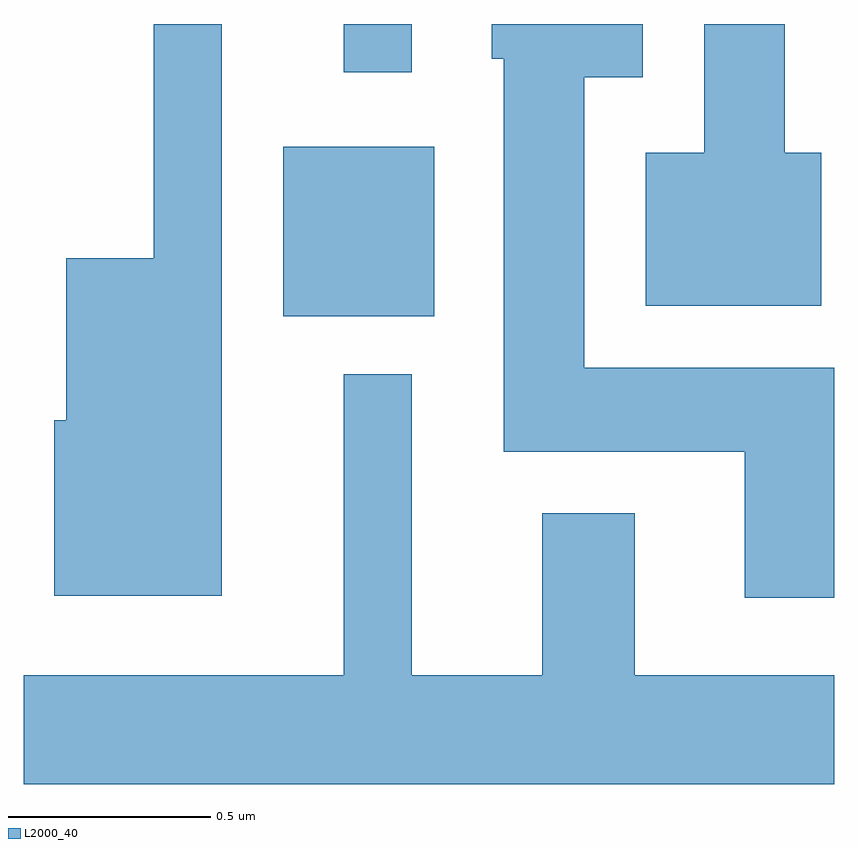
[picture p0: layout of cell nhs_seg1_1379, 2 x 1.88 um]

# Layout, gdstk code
import gdstk
lib = gdstk.Library(unit=1e-6, precision=1e-09)
def R(c, l, rs):  # rectangles x0, y0, x1, y1
    for r in rs: c.add(gdstk.rectangle(r[:2], r[2:], *l))
def P(c, l, *ps):  # polygons
    for p in ps: c.add(gdstk.Polygon(p, *l))
L2000_40 = (2000, 40)

nhs_seg1_1379 = lib.new_cell('nhs_seg1_1379')
R(nhs_seg1_1379, L2000_40, [(196.251,862.991,196.624,863.409), (196.401,863.593,196.569,863.712)])
P(nhs_seg1_1379, L2000_40, [(196.099,863.712),(195.931,863.712),(195.931,863.134),(195.716,863.134),(195.716,862.734),(195.686,862.734),(195.686,862.301),(196.099,862.301)],
  [(197.611,862.864),(196.994,862.864),(196.994,863.581),(197.139,863.581),(197.139,863.712),(196.766,863.712),(196.766,863.626),(196.796,863.626),(196.796,862.656),(197.391,862.656),(197.391,862.296),(197.611,862.296)],
  [(197.579,863.394),(197.489,863.394),(197.489,863.712),(197.291,863.712),(197.291,863.394),(197.146,863.394),(197.146,863.016),(197.579,863.016)],
  [(197.611,862.104),(197.119,862.104),(197.119,862.504),(196.891,862.504),(196.891,862.104),(196.569,862.104),(196.569,862.848),(196.401,862.848),(196.401,862.104),(195.611,862.104),(195.611,861.836),(197.611,861.836)])

lib.write_gds('nhs_seg1_1379.gds')
